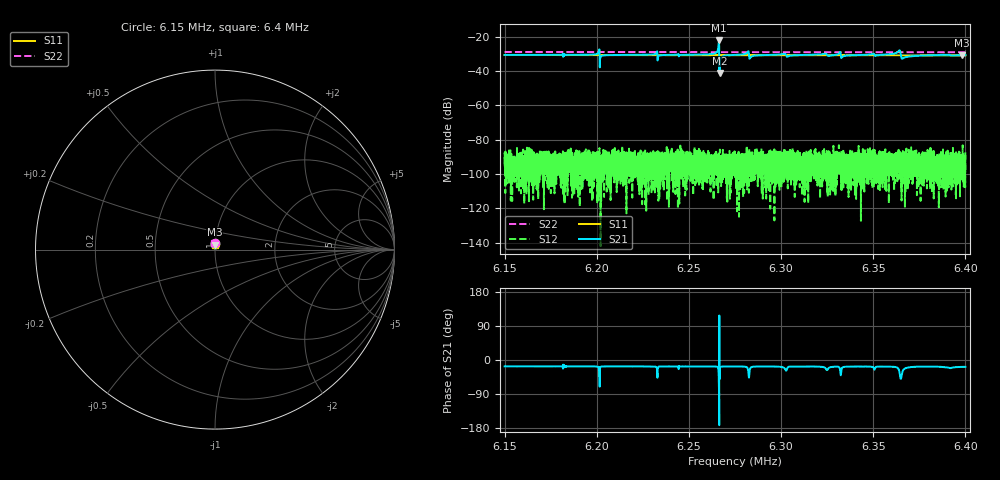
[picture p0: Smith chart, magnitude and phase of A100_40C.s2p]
!CETC41,AV3656A,ZGL00048,1.3.2
!Calibration ON (Full Solt 2-Port(Omit Isolation))
!Measurements: S11 S21 S12 S22
!2025-04-18 02:43
# Hz  S  dB  R 50.000
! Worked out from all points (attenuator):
!   6401 points, 6.15 MHz to 6.4 MHz, reference 50 ohm
!   highest |S21| = -22.24 dB at 6.2663 MHz (marker M1); lowest = -41.2 dB at 6.2666 MHz (marker M2)
!   lowest |S11| = -31.0 dB at 6.398 MHz (marker M3), VSWR 1.06, Z = 49.9 + j2.83 ohm
!   |S11| at or under -10 dB: start of sweep to end of sweep
!   |S22| runs from -29.1 to -28.9 dB; largest |S21 - S12| = 0.077
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6150000  -30.72 85.5  -30.68 -16.7  -94.34 -31.5  -28.94 90.6
6191680  -30.75 86.4  -30.56 -16.9  -104.14 89.1  -28.98 91.4
6200273  -30.76 86.6  -30.00 -17.2  -101.62 48.7  -28.98 91.5
6202813  -30.76 86.7  -31.21 -17.1  -90.11 173.7  -28.97 91.6
6233359  -30.80 87.4  -31.57 -18.3  -108.40 176.1  -29.02 92.1
6261406  -30.83 88.0  -30.22 -17.1  -95.25 87.6  -29.03 92.6
6265156  -30.83 88.1  -29.04 -17.7  -88.90 -41.7  -29.03 92.7
6266289  -30.82 88.1  -22.24 -72.2  -96.32 87.8  -29.04 92.7
6266602  -30.82 88.1  -41.16 -46.7  -92.43 -110.6  -29.02 92.7
6267734  -30.83 88.2  -31.91 -17.6  -88.63 40.0  -29.03 92.7
6269258  -30.83 88.2  -31.18 -17.2  -90.27 101.0  -29.03 92.8
6275000  -30.84 88.3  -30.65 -17.1  -92.17 71.6  -29.04 92.9
6281289  -30.84 88.4  -29.68 -18.6  -99.15 128.2  -29.04 92.9
6283867  -30.85 88.5  -31.68 -18.9  -100.34 -159.3  -29.04 93.1
6316680  -30.87 89.2  -30.57 -17.2  -98.89 155.6  -29.07 93.6
6331133  -30.89 89.6  -30.09 -18.0  -96.88 -85.6  -29.08 93.8
6333711  -30.90 89.7  -31.49 -18.7  -89.43 -3.1  -29.08 93.9
6358359  -30.92 90.1  -30.33 -17.6  -91.39 37.4  -29.10 94.3
6363633  -30.92 90.3  -28.61 -23.2  -102.98 47.5  -29.10 94.4
6366445  -30.92 90.4  -32.46 -25.4  -100.32 -67.2  -29.11 94.4
6398047  -30.96 91.1  -30.86 -18.2  -97.12 47.6  -29.14 95.0
6400000  -30.95 91.2  -30.68 -18.1  -99.41 138.3  -29.14 95.0
